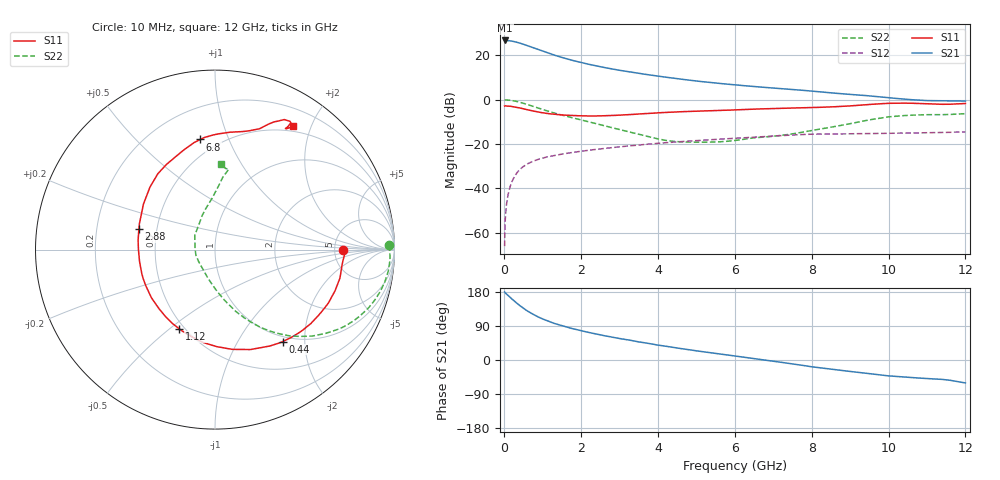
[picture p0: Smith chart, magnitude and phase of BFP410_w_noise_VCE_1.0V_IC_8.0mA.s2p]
! Infineon Technologies  Discrete & RF Semiconductors
! BFP410
! VCE =  1.0 V,  IC =  8.0 mA
! Common Emitter S-Parameters:  Nov 2015
# GHz  S  MA  R  50
!  f  S11  S21  S12  S22
! GHz  MAG  ANG  MAG  ANG  MAG  ANG  MAG  ANG
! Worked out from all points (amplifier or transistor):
!   243 points, 10 MHz to 12 GHz, reference 50 ohm
!   highest |S21| = 26.6 dB at 20 MHz (marker M1)
!   |S21| within 3 dB of that: start of sweep to 710.6 MHz
!   unconditionally stable (mu >= 1): start of sweep to 11.4 MHz; 2.537 GHz to end of sweep
!   at 240 MHz: K = 0.15, MSG = 30.8 dB, |S12| = -35.5 dB
!   at 1.84 GHz: K = 0.81, MSG = 20.5 dB, |S12| = -23.7 dB
!   at 12 GHz: K = 1.03, MAG = 5.8 dB, |S12| = -14.6 dB
!   lowest NFmin = 1.18 dB at 900 MHz
!   S11 on the Smith chart (normalised r, x): 10 MHz: 5.98, +0.00; 440 MHz: 0.92, -1.58; 1.12 GHz: 0.47, -0.54; 2.88 GHz: 0.40, +0.11; 6.8 GHz: 0.40, +0.79; 12 GHz: 0.43, +1.74
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0.01  0.7134 0.0  21.15 179.5  0.0005 89.9  0.9725 1.4
0.02  0.7215 -2.4  21.32 177.9  0.0015 88.7  0.9744 -0.9
0.1  0.7139 -12.9  21.15 170.4  0.0072 84.3  0.9729 -7.1
0.195  0.6986 -24.8  20.61 161.6  0.0138 78.3  0.9511 -13.8
0.24  0.6875 -30.3  20.21 157.4  0.0167 75.7  0.9368 -16.9
0.34  0.6638 -42.4  19.31 148.9  0.0229 70.7  0.8971 -23.4
0.44  0.6363 -53.6  18.2 141.0  0.0282 66.1  0.8511 -29.2
0.5  0.6182 -60.3  17.52 136.4  0.0312 63.7  0.8217 -32.5
0.6  0.5907 -70.5  16.33 129.4  0.0354 59.9  0.7717 -37.3
0.7  0.564 -80.2  15.22 123.4  0.0392 56.8  0.7242 -41.7
0.9  0.5211 -97.6  13.16 112.8  0.0455 51.9  0.6363 -49.1
1.12  0.4846 -114.2  11.27 103.4  0.0511 48.1  0.5533 -55.5
1.3  0.4647 -126.1  10.01 96.6  0.055 45.6  0.4969 -60.0
1.52  0.4472 -138.6  8.747 89.8  0.0594 43.6  0.4399 -64.5
2.02  0.4284 -162.7  6.737 76.9  0.0688 40.0  0.3443 -73.0
2.88  0.4392 164.8  4.74 59.0  0.0839 34.5  0.2233 -88.7
4.1  0.5069 134.2  3.269 37.9  0.1049 26.4  0.1247 -124.7
6.1  0.588 105.7  2.097 9.2  0.1356 12.2  0.1225 156.1
6.8  0.6191 97.6  1.868 -0.4  0.1472 6.7  0.1435 137.9
8.2  0.6666 79.7  1.492 -20.4  0.1663 -7.4  0.2147 107.2
10.2  0.824 60.8  1.057 -43.4  0.1742 -22.3  0.4204 82.7
12  0.8127 57.6  0.923 -60.6  0.1872 -36.2  0.4802 86.1
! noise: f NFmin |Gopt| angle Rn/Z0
0.45  1.21  0.12  -6  0.18
0.9  1.18  0.11  12  0.17
1.8  1.32  0.04  55  0.17
2.4  1.3  0.01  -67  0.19
5.5  2.19  0.33  -117  0.24
10  3.37  0.67  -50  1.8
